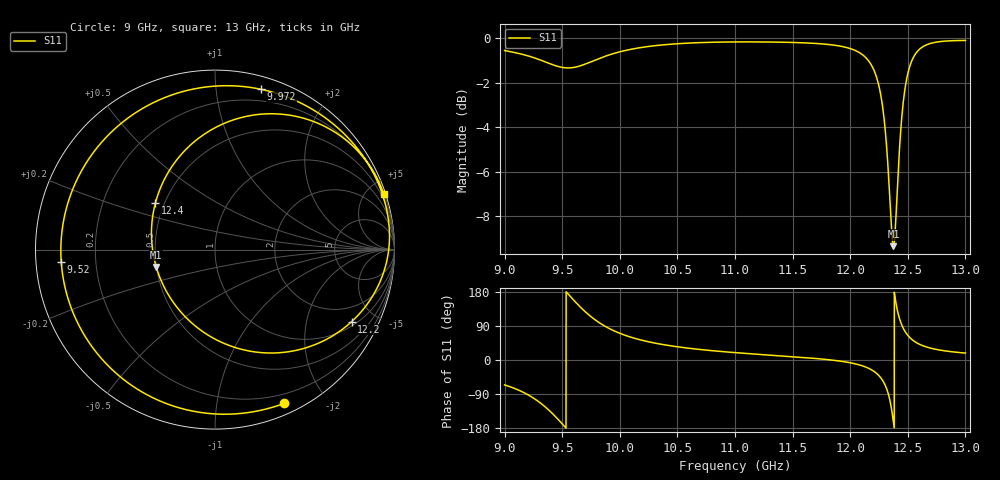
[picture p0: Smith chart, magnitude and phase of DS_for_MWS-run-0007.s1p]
! TOUCHSTONE file generated by CST DESIGN STUDIO
! Date and time: Tue Feb  4 13:09:08 2025
! Project name: C:\Work\MatlabApps\UnitCellOptimizationMatlab\CST\unitcell.cst
! Tree item: Tasks\Sweep1\SPara1\S-Parameters
! Header version: 2024
! Port assignment regex: !\s*Touchstone port\s*([0-9]+)\s*=\s*(CST MWS port|CST DES external port|CST DES block port)\s*(.+)\s* \(\"(.*)\"\)(\s*mode\s*([0-9]+))?.*
! Touchstone port assignment:
! Touchstone port 1 = CST DES external port 1 ("")
# GHz S MA R 50
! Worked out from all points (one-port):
!   4001 points, 9 GHz to 13 GHz, reference 50 ohm
!   lowest |S11| = -9.3 dB at 12.38 GHz (marker M1), VSWR 2.04, Z = 24.9 - j5.47 ohm
!   |S11| at or under -10 dB: nowhere
!   S11 on the Smith chart (normalised r, x): 9 GHz: 0.11, -1.54; 9.52 GHz: 0.08, -0.04; 9.972 GHz: 0.10, +1.32; 12.2 GHz: 1.19, -3.68; 12.4 GHz: 0.45, +0.28; 13 GHz: 0.20, +6.19
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9  0.9396 -65.8
9.146  0.9223 -82.9
9.295  0.8976 -109.9
9.395  0.8773 -135.5
9.5  0.861 -168.5
9.52  0.8595 -175.3
9.611  0.8619 154.2
9.73  0.8823 119.3
9.835  0.9046 95.8
9.972  0.9293 74.0
10  0.9334 70.4
10.215  0.9569 50.4
10.5  0.9733 34.9
11  0.9823 19.5
11.5  0.9797 8.8
12  0.9491 -7.3
12.116  0.9153 -16.5
12.195  0.8606 -27.8
12.257  0.7658 -44.0
12.31  0.598 -71.1
12.342  0.4456 -102.8
12.375  0.3414 -163.5
12.402  0.4211 142.2
12.447  0.6619 92.7
12.5  0.8338 65.0
12.566  0.9231 47.4
12.656  0.9662 34.9
13  0.9899 18.3
